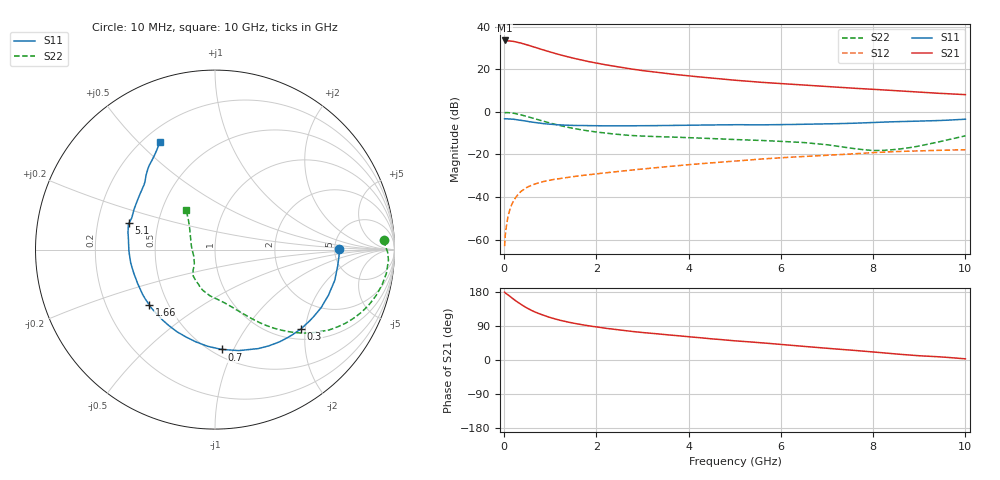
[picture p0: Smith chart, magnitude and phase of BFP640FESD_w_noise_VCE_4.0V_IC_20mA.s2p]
! Infineon Technologies  Discrete & RF Semiconductors
! BFP640FESD
! VCE =  4.0 V,  IC =  20 mA
! Common Emitter S-Parameters:  Jan 2016
# GHz  S  MA  R  50
!  f  S11  S21  S12  S22
! GHz  MAG  ANG  MAG  ANG  MAG  ANG  MAG  ANG
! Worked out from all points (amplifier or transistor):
!   233 points, 10 MHz to 10 GHz, reference 50 ohm
!   highest |S21| = 33.6 dB at 10 MHz (marker M1)
!   |S21| within 3 dB of that: start of sweep to 634.7 MHz
!   unconditionally stable (mu >= 1): start of sweep to 15.96 MHz; 4.118 GHz to end of sweep
!   at 200 MHz: K = 0.20, MSG = 37.6 dB, |S12| = -41.9 dB
!   at 1.74 GHz: K = 0.72, MSG = 26.9 dB, |S12| = -29.7 dB
!   at 10 GHz: K = 1.08, MAG = 11.2 dB, |S12| = -17.8 dB
!   lowest NFmin = 0.88 dB at 450 MHz
!   S11 on the Smith chart (normalised r, x): 10 MHz: 5.43, +0.02; 300 MHz: 1.24, -1.90; 700 MHz: 0.56, -0.90; 1.66 GHz: 0.39, -0.32; 5.1 GHz: 0.34, +0.14; 10 GHz: 0.26, +0.58
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0.01  0.689 0.1  47.86 179.1  0.0007 33.6  0.9402 3.1
0.02  0.6922 -2.6  47.42 177.2  0.0011 55.5  0.9626 -1.0
0.1  0.6888 -14.5  46.87 170.4  0.0041 72.1  0.9639 -7.9
0.15  0.6813 -21.9  46.33 165.5  0.0061 73.0  0.951 -12.0
0.24  0.6642 -34.4  44.52 157.2  0.0094 70.3  0.9165 -18.8
0.3  0.652 -42.5  43.24 152.0  0.0114 68.2  0.888 -23.1
0.4  0.6272 -55.0  40.52 144.0  0.0144 64.2  0.8343 -29.5
0.5  0.6019 -66.4  37.66 136.8  0.017 60.9  0.7781 -35.1
0.6  0.5781 -76.7  34.83 130.4  0.019 58.1  0.723 -39.7
0.7  0.5577 -86.1  32.2 125.0  0.0208 55.8  0.672 -43.9
0.9  0.5249 -101.8  27.56 115.8  0.0237 53.0  0.5835 -50.4
1.1  0.5043 -114.8  23.79 108.5  0.0261 51.4  0.5117 -55.8
1.4  0.4857 -129.9  19.48 99.7  0.0292 50.5  0.431 -62.4
1.66  0.4786 -139.8  16.77 93.7  0.0318 50.5  0.3824 -67.2
1.68  0.4778 -140.5  16.58 93.3  0.032 50.5  0.3792 -67.5
1.94  0.4742 -148.3  14.48 88.3  0.0345 50.9  0.3442 -72.0
2.4  0.47 -159.6  11.77 80.7  0.0393 51.5  0.3011 -79.9
3.4  0.4782 -177.4  8.281 68.1  0.0502 52.1  0.2611 -95.0
5.1  0.5014 162.6  5.457 49.8  0.0711 49.2  0.2225 -112.6
6.8  0.5193 143.8  4.077 32.9  0.0933 42.3  0.1775 -133.4
8.4  0.586 129.6  3.204 16.9  0.1159 34.4  0.1289 177.7
10  0.6746 117.0  2.551 3.1  0.1291 24.2  0.2747 125.9
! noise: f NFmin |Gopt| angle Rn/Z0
0.45  0.88  0.04  -159  0.09
2.4  0.91  0.1  -167  0.09
5.5  1.14  0.24  -175  0.08
10  1.67  0.43  -111  0.25
